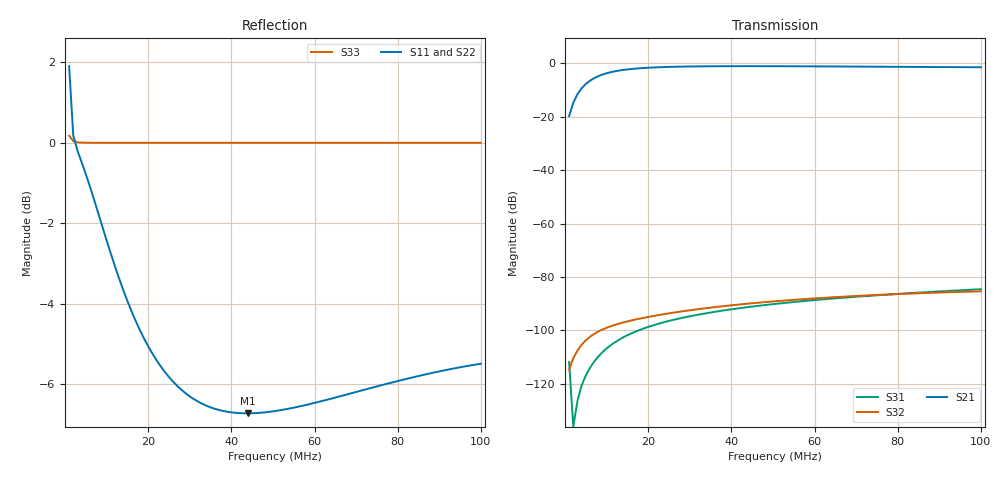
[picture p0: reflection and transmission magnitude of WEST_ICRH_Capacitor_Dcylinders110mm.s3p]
! Touchstone file exported from HFSS 2018.2.0
!  File:  E:/Julien/ICRH/WEST Antenna/Complete Numerical Antenna Model/WEST_ICRH_Capacitor.aedt
!  Generated:  5:40:07  janv. 09, 2019
!  Design:  WEST_ICRH_Voltage_Probes_depth_m5mm_optimetrics_silver_Part2
!  Project:  WEST_ICRH_Capacitor
!  Setup:  Setup1
!  Solution:  Sweep
! Variables:
!  D_cylinders = 110mm
!  D_cylinders_step = 110.908mm
!  d_half_wave = 3.66666666666667mm
!  d_mesh = 7mm
!  deemb1 = 150mm
!  deemb2 = 150mm
!  deemb3 = 100mm
!  depth = -5mm
!  diameter_bellows_fixed_center_1 = 76mm
!  diameter_bellows_fixed_center_2 = 72mm
!  diameter_bellows_fixed_left_1 = 76mm
!  diameter_bellows_fixed_left_2 = 71mm
!  diameter_big_wave = 74.925mm
!  diameter_cylinder_1 = 140mm
!  diameter_cylinder_2 = 110mm
!  diameter_cylinder_3 = 80mm
!  diameter_cylinder_4 = 50mm
!  diameter_cylinder_5 = 19.985mm
!  diameter_cylinders_fixed = 143mm
!  diameter_small_wave = 51mm
!  diametre_coax_external = 216mm
!  diametre_probe_cavity = 13mm
!  diametre_probe_external = 7mm
!  diametre_probe_head = 7mm
!  diametre_probe_internal = 3mm
!  length_bellows_fixed_center_1 = 4.1mm
!  length_bellows_fixed_center_2 = 6.042mm
!  length_bellows_fixed_left_1 = 4.1mm
!  length_bellows_fixed_left_2 = 13mm
!  length_cylinders = 45.5mm
!  length_cylinders_fixed = 7mm
!  length_probe = 114mm
!  length_probe_cavity = 23mm
!  length_probe_head = 9.5mm
!  parois_cavity_probe = 1mm
!  parois_probe = 1mm
!  thickness_cylinder_1 = 1.5mm
!  thickness_cylinder_2 = 1.5mm
!  thickness_cylinder_3 = 1.5mm
!  thickness_cylinder_4 = 1.5mm
!  top_probe = 14mm
!  y0_bellows1 = 223.3mm
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# GHZ S DB R 50.000000
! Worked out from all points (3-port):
!   100 points, 1 MHz to 100 MHz, reference 50 ohm
!   strongest paths, dB at 1 MHz, 26 MHz, 51 MHz, 76 MHz, 100 MHz:
!     S21: -19.8, -1.3, -1.1, -1.3, -1.4
!     S32: -114.8, -93.4, -89.0, -86.7, -85.4
!     S31: -111.8, -96.1, -90.0, -86.7, -84.6
!   lowest |S11| = -6.7 dB at 44 MHz (marker M1), VSWR 2.71, Z = 28.2 - j32.3 ohm
!   |S11| at or under -10 dB: nowhere
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0.001  1.90 -6.2  -19.77 83.5  -111.81 173.3
       -19.77 83.5  -0.02 -6.2  -114.77 103.8
       -111.81 173.3  -114.77 103.8  0.17 2.7
0.002  0.18 -12.1  -14.75 77.7  -136.06 56.4
       -14.75 77.7  -0.14 -12.2  -110.36 84.8
       -136.06 56.4  -110.36 84.8  0.04 0.4
0.004  -0.48 -23.5  -9.33 66.4  -120.63 154.5
       -9.33 66.4  -0.54 -23.6  -105.39 78.5
       -120.63 154.5  -105.39 78.5  0.01 -0.1
0.007  -1.41 -38.1  -5.54 51.7  -111.73 141.5
       -5.54 51.7  -1.42 -38.4  -101.32 72.3
       -111.73 141.5  -101.32 72.3  0.00 -0.4
0.01  -2.42 -49.8  -3.69 40.1  -106.78 129.9
      -3.69 40.1  -2.42 -50.1  -99.02 68.4
      -106.78 129.9  -99.02 68.4  0.00 -0.5
0.015  -3.93 -63.9  -2.26 25.9  -101.82 115.7
       -2.26 25.9  -3.93 -64.3  -96.63 65.3
       -101.82 115.7  -96.63 65.3  -0.00 -0.8
0.022  -5.40 -77.2  -1.48 12.6  -97.72 102.3
       -1.48 12.6  -5.40 -77.6  -94.38 64.0
       -97.72 102.3  -94.38 64.0  -0.00 -1.2
0.044  -6.72 -101.5  -1.04 -11.3  -91.26 78.2
       -1.04 -11.3  -6.72 -101.1  -89.97 61.8
       -91.26 78.2  -89.97 61.8  -0.00 -2.4
0.051  -6.66 -107.2  -1.06 -16.7  -90.00 72.7
       -1.06 -16.7  -6.66 -106.3  -89.02 60.8
       -90.00 72.7  -89.02 60.8  -0.00 -2.7
0.1  -5.49 -138.6  -1.45 -46.1  -84.56 42.9
     -1.45 -46.1  -5.49 -133.6  -85.36 53.9
     -84.56 42.9  -85.36 53.9  0.00 -5.4
